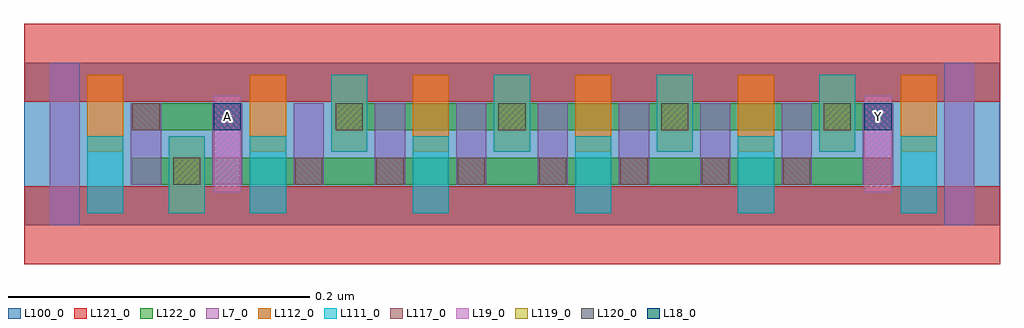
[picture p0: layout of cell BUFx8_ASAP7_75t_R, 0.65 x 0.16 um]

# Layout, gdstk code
import gdstk
lib = gdstk.Library(unit=1e-6, precision=2.5e-10)
def R(c, l, rs):  # rectangles x0, y0, x1, y1
    for r in rs: c.add(gdstk.rectangle(r[:2], r[2:], *l))
def A(c, l, x, y, w, h, nx, ny, dx, dy):  # array of equal rectangles
    R(c, l, [(x+i*dx, y+j*dy, x+i*dx+w, y+j*dy+h) for i in range(nx) for j in range(ny)])
L7_0 = (7, 0)
L18_0 = (18, 0)
L19_0 = (19, 0)
L100_0 = (100, 0)
L111_0 = (111, 0)
L112_0 = (112, 0)
L117_0 = (117, 0)
L119_0 = (119, 0)
L120_0 = (120, 0)
L121_0 = (121, 0)
L122_0 = (122, 0)

bufx8_asap7_75t_r = lib.new_cell('BUFx8_ASAP7_75t_R')
A(bufx8_asap7_75t_r, L7_0, 0.071, 0.027, 0.02, 0.054, 10, 1, 0.054, 0)
R(bufx8_asap7_75t_r, L7_0, [(0.017,0,0.037,0.108), (0.611,0,0.631,0.108)])
R(bufx8_asap7_75t_r, L18_0, [(0.126,0.063,0.144,0.081), (0.558,0.063,0.576,0.081)])
R(bufx8_asap7_75t_r, L19_0, [(0.126,0.022,0.144,0.086), (0.558,0.022,0.576,0.086)])
R(bufx8_asap7_75t_r, L100_0, [(0,0,0.648,0.108)])
A(bufx8_asap7_75t_r, L111_0, 0.042, 0.008, 0.024, 0.051, 3, 1, 0.054, 0)
A(bufx8_asap7_75t_r, L111_0, 0.258, 0.008, 0.024, 0.051, 4, 1, 0.108, 0)
A(bufx8_asap7_75t_r, L111_0, 0.204, 0.049, 0.024, 0.051, 4, 1, 0.108, 0)
A(bufx8_asap7_75t_r, L112_0, 0.15, 0.049, 0.024, 0.051, 9, 1, 0.054, 0)
R(bufx8_asap7_75t_r, L112_0, [(0.096,0.008,0.12,0.059), (0.042,0.049,0.066,0.1)])
A(bufx8_asap7_75t_r, L117_0, 0.18, 0.027, 0.018, 0.018, 8, 1, 0.054, 0)
R(bufx8_asap7_75t_r, L117_0, [(0.072,0.063,0.09,0.081), (0.126,0.063,0.144,0.081)])
A(bufx8_asap7_75t_r, L119_0, 0.207, 0.063, 0.018, 0.018, 4, 1, 0.108, 0)
R(bufx8_asap7_75t_r, L119_0, [(0.099,0.027,0.117,0.045)])
A(bufx8_asap7_75t_r, L120_0, 0.207, 0.063, 0.018, 0.018, 4, 1, 0.108, 0)
R(bufx8_asap7_75t_r, L120_0, [(0.099,0.027,0.117,0.045)])
R(bufx8_asap7_75t_r, L121_0, [(0,-0.026,0.648,0.026), (0,0.082,0.648,0.134)])
R(bufx8_asap7_75t_r, L122_0, [(0.072,0.027,0.576,0.045), (0.072,0.063,0.144,0.081), (0.207,0.063,0.576,0.081)])
bufx8_asap7_75t_r.add(gdstk.Label('Y', (0.567,0.072), layer=19, texttype=251))
bufx8_asap7_75t_r.add(gdstk.Label('A', (0.135,0.072), layer=19, texttype=251))

lib.write_gds('BUFx8_ASAP7_75t_R.gds')
